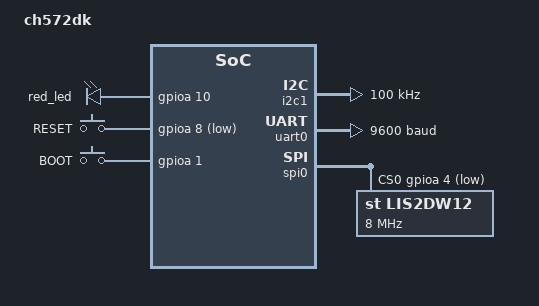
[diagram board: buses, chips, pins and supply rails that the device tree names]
/*
 * Copyright (c) 2024 Michael Hope <michaelh@juju.nz>
 * SPDX-License-Identifier: Apache-2.0
 */

/dts-v1/;

#include <wch/ch5xx/ch572d.dtsi>
#include "ch572dk-pinctrl.dtsi"

/ {
	model = "ch572dk";
	compatible = "biii,ch572d";

	chosen {
		zephyr,sram = &sram0;
		zephyr,flash = &flash0;
		zephyr,console = &uart0;
		zephyr,shell-uart = &uart0;
	};

	leds {
		compatible = "gpio-leds";
		status = "okay";

		red_led: led0 {
			gpios = <&gpioa 10 GPIO_ACTIVE_HIGH>;
		};
	};

	buttons {
		compatible = "gpio-keys";

		button0: button_0 {
			gpios = <&gpioa 8 (GPIO_PULL_UP | GPIO_ACTIVE_LOW)>;
			label = "RESET";
		};

		button1: button_1 {
			gpios = <&gpioa 1 (GPIO_PULL_DOWN | GPIO_ACTIVE_HIGH)>;
			label = "BOOT";
		};
	};

	aliases {
		led0 = &red_led;
		sw0 = &button0;
		sw1 = &button1;
	};
};

&clk_hse {
	hse-load-capacitance = <12>;
	hse-rated-current = <100>;
};

&rcc {
	clocks = <&pll>; /* PLL 600MHz as system clock source */
	divider = <6>; /* Fsys = 600MHz / 6 = 100MHz */
};

&cpu0 {
	clock-frequency = <DT_FREQ_M(100)>;
};

&i2c1 {
	status = "okay";
	clock-frequency = <I2C_BITRATE_STANDARD>;
	pinctrl-0 = <&i2c1_default>;
	pinctrl-names = "default";
};

&uart0 {
	status = "okay";
	current-speed = <9600>;
	pinctrl-0 = <&uart0_default>;
	pinctrl-names = "default";
};

&spi0 {
	status = "okay";
	pinctrl-0 = <&spi0_default>;
	pinctrl-names = "default";

	cs-gpios = <&gpioa 4 GPIO_ACTIVE_LOW>;

	lis2dw12: lis2dw12@0 {
		status = "okay";
		compatible = "st,lis2dw12";
		spi-max-frequency = <8000000>;
		reg = <0>;
	};
};
